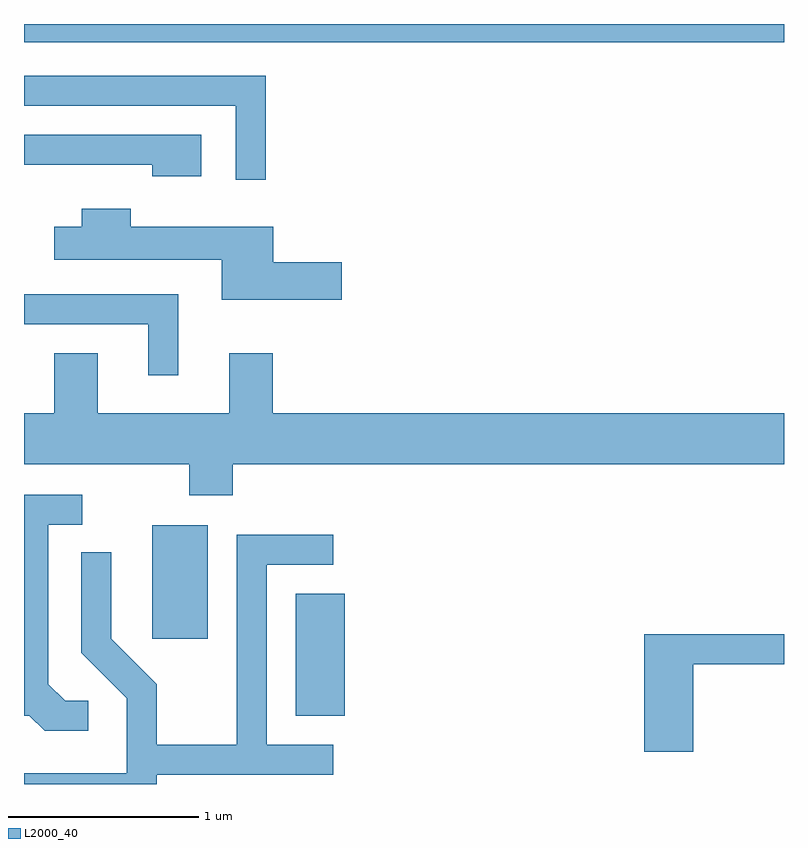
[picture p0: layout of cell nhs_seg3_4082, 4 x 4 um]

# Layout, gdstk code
import gdstk
lib = gdstk.Library(unit=1e-6, precision=1e-09)
def R(c, l, rs):  # rectangles x0, y0, x1, y1
    for r in rs: c.add(gdstk.rectangle(r[:2], r[2:], *l))
def P(c, l, *ps):  # polygons
    for p in ps: c.add(gdstk.Polygon(p, *l))
L2000_40 = (2000, 40)

nhs_seg3_4082 = lib.new_cell('nhs_seg3_4082')
R(nhs_seg3_4082, L2000_40, [(307.041,1120.251,307.299,1120.894), (306.286,1120.656,306.579,1121.254), (305.611,1123.796,309.611,1123.892)])
P(nhs_seg3_4082, L2000_40, [(306.884,1123.619),(305.611,1123.619),(305.611,1123.461),(306.726,1123.461),(306.726,1123.073),(306.884,1123.073)],
  [(306.544,1123.309),(305.611,1123.309),(305.611,1123.151),(306.286,1123.151),(306.286,1123.091),(306.544,1123.091)],
  [(307.284,1122.639),(306.924,1122.639),(306.924,1122.824),(306.174,1122.824),(306.174,1122.919),(305.916,1122.919),(305.916,1122.824),(305.771,1122.824),(305.771,1122.651),(306.651,1122.651),(306.651,1122.441),(307.284,1122.441)],
  [(306.424,1122.469),(305.611,1122.469),(305.611,1122.311),(306.266,1122.311),(306.266,1122.043),(306.424,1122.043)],
  [(306.709,1121.576),(309.611,1121.576),(309.611,1121.844),(306.919,1121.844),(306.919,1122.159),(306.691,1122.159),(306.691,1121.844),(305.999,1121.844),(305.999,1122.159),(305.771,1122.159),(305.771,1121.844),(305.611,1121.844),(305.611,1121.576),(306.481,1121.576),(306.481,1121.411),(306.709,1121.411)],
  [(305.948,1120.329),(305.827,1120.329),(305.739,1120.417),(305.739,1121.256),(305.918,1121.256),(305.918,1121.414),(305.611,1121.414),(305.611,1120.251),(305.639,1120.251),(305.719,1120.171),(305.948,1120.171)],
  [(306.309,1119.941),(307.238,1119.941),(307.238,1120.099),(306.889,1120.099),(306.889,1121.046),(307.238,1121.046),(307.238,1121.204),(306.731,1121.204),(306.731,1120.099),(306.309,1120.099),(306.309,1120.417),(306.069,1120.657),(306.069,1121.113),(305.911,1121.113),(305.911,1120.584),(306.151,1120.344),(306.151,1119.949),(305.611,1119.949),(305.611,1119.892),(306.309,1119.892)],
  [(309.134,1120.521),(309.611,1120.521),(309.611,1120.679),(308.876,1120.679),(308.876,1120.061),(309.134,1120.061)])

lib.write_gds('nhs_seg3_4082.gds')
